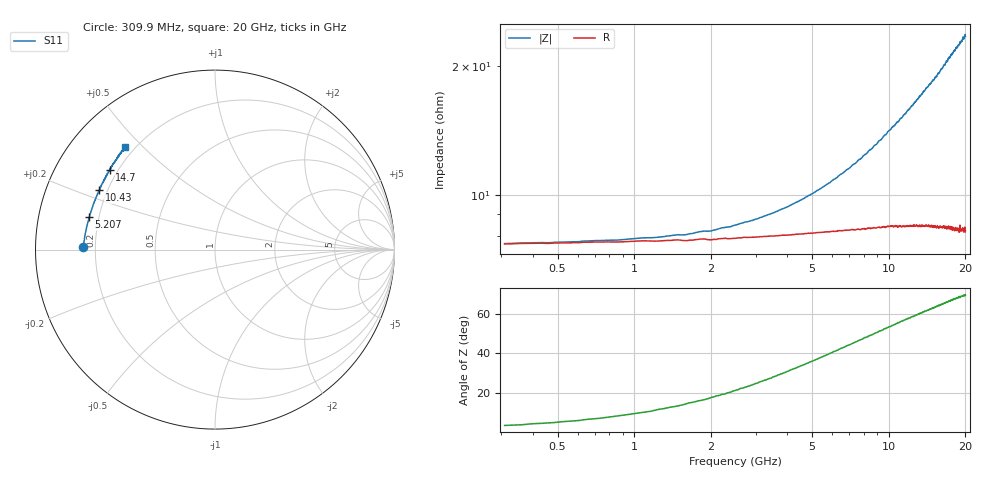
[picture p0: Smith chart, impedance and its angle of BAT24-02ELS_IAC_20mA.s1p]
! Infineon Technologies  Discrete & RF Semiconductors
! BAT24-02ELS
! IAC = 20 mA
! One-Port S-Parameters
# Hz  S  MA  R  50
!f  S11
!Hz  Mag  Ang
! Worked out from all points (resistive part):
!   789 points, 309.9 MHz to 20 GHz, reference 50 ohm
!   read as one part to ground: R = 7.68 ohm at 384.8 MHz
!   S11 on the Smith chart (normalised r, x): 309.9 MHz: 0.15, +0.01; 5.207 GHz: 0.16, +0.12; 10.43 GHz: 0.17, +0.24; 14.7 GHz: 0.17, +0.33; 20 GHz: 0.16, +0.44
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3.0985e8  0.7343 178.9
2.783612e9  0.7272 172.0
5.2074e9  0.7236 165.6
5.232388e9  0.7235 165.5
7.70615e9  0.7236 159.4
1.015492e10  0.7241 153.5
1.042979e10  0.7256 152.8
1.262869e10  0.7293 147.7
1.367816e10  0.7332 145.2
1.470265e10  0.7348 143.0
1.507746e10  0.737 142.3
1.64018e10  0.7421 139.1
1.66017e10  0.744 138.6
1.677661e10  0.7434 138.2
1.695152e10  0.7452 137.9
1.715142e10  0.7448 137.2
1.755122e10  0.7465 136.4
1.82009e10  0.7502 134.9
1.837581e10  0.7515 134.6
1.855072e10  0.753 134.3
1.875062e10  0.7533 133.9
1.895052e10  0.7564 133.5
1.912544e10  0.7542 133.1
1.932534e10  0.7566 132.7
1.950025e10  0.7542 132.3
1.967516e10  0.7572 131.8
1.987506e10  0.7561 131.6
2e10  0.7591 131.3
